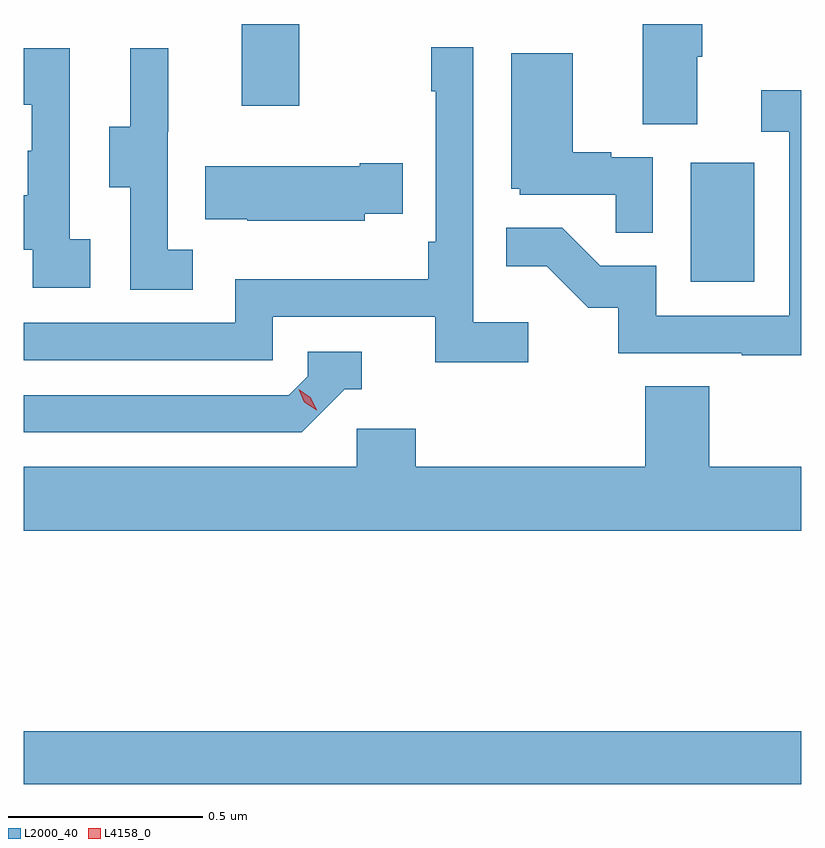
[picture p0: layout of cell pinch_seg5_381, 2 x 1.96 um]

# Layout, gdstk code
import gdstk
lib = gdstk.Library(unit=1e-6, precision=1e-09)
def R(c, l, rs):  # rectangles x0, y0, x1, y1
    for r in rs: c.add(gdstk.rectangle(r[:2], r[2:], *l))
def P(c, l, *ps):  # polygons
    for p in ps: c.add(gdstk.Polygon(p, *l))
L2000_40 = (2000, 40)
L4158_0 = (4158, 0)

pinch_seg5_381 = lib.new_cell('pinch_seg5_381')
R(pinch_seg5_381, L2000_40, [(988.598,878.752,990.598,878.888), (990.314,880.044,990.478,880.351), (989.159,880.497,989.307,880.708)])
P(pinch_seg5_381, L2000_40, [(990.331,880.624),(990.344,880.624),(990.344,880.708),(990.191,880.708),(990.191,880.45),(990.331,880.45)],
  [(989.896,879.94),(989.754,879.94),(989.754,880.648),(989.646,880.648),(989.646,880.535),(989.658,880.535),(989.658,880.147),(989.638,880.147),(989.638,880.051),(989.142,880.051),(989.142,879.939),(988.598,879.939),(988.598,879.843),(989.238,879.843),(989.238,879.954),(989.657,879.954),(989.657,879.838),(989.896,879.838)],
  [(988.768,880.154),(988.716,880.154),(988.716,880.645),(988.598,880.645),(988.598,880.5),(988.618,880.5),(988.618,880.382),(988.608,880.382),(988.608,880.267),(988.598,880.267),(988.598,880.127),(988.62,880.127),(988.62,880.029),(988.768,880.029)],
  [(989.032,880.127),(988.968,880.127),(988.968,880.431),(988.97,880.431),(988.97,880.645),(988.871,880.645),(988.871,880.443),(988.817,880.443),(988.817,880.288),(988.872,880.288),(988.872,880.024),(989.032,880.024)],
  [(990.216,880.365),(990.11,880.365),(990.11,880.378),(990.01,880.378),(990.01,880.633),(989.852,880.633),(989.852,880.284),(989.874,880.284),(989.874,880.269),(990.121,880.269),(990.121,880.171),(990.216,880.171)],
  [(990.598,880.537),(990.495,880.537),(990.495,880.431),(990.567,880.431),(990.567,879.957),(990.225,879.957),(990.225,880.086),(990.081,880.086),(989.983,880.184),(989.839,880.184),(989.839,880.085),(989.943,880.085),(990.05,879.978),(990.127,879.978),(990.127,879.861),(990.445,879.861),(990.445,879.856),(990.598,879.856)],
  [(989.475,880.22),(989.573,880.22),(989.573,880.35),(989.462,880.35),(989.462,880.342),(989.065,880.342),(989.065,880.205),(989.173,880.205),(989.173,880.202),(989.475,880.202)],
  [(989.424,879.768),(989.467,879.768),(989.467,879.864),(989.328,879.864),(989.328,879.801),(989.28,879.753),(988.598,879.753),(988.598,879.657),(989.313,879.657)],
  [(990.598,879.568),(990.362,879.568),(990.362,879.776),(990.197,879.776),(990.197,879.568),(989.606,879.568),(989.606,879.666),(989.454,879.666),(989.454,879.568),(988.598,879.568),(988.598,879.404),(990.598,879.404)])
P(pinch_seg5_381, L4158_0, [(989.351,879.714),(989.32,879.735),(989.305,879.768),(989.305,879.768),(989.305,879.768),(989.335,879.748),(989.351,879.715),(989.351,879.714)])

lib.write_gds('pinch_seg5_381.gds')
